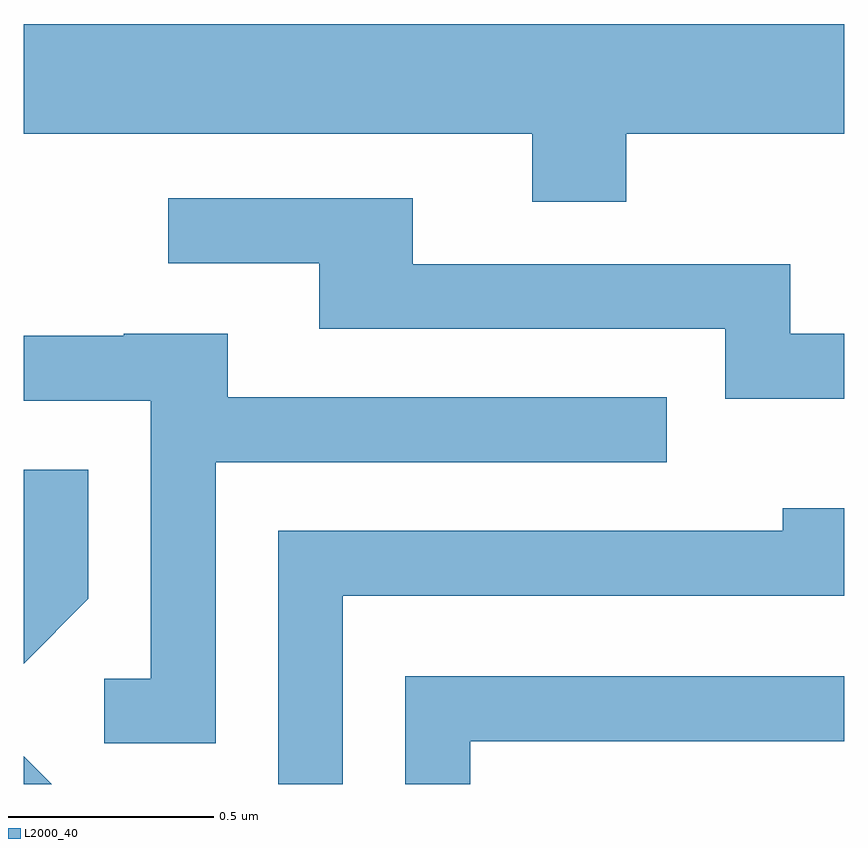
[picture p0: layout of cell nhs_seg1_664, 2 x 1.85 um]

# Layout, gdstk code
import gdstk
lib = gdstk.Library(unit=1e-6, precision=1e-09)
def P(c, l, *ps):  # polygons
    for p in ps: c.add(gdstk.Polygon(p, *l))
L2000_40 = (2000, 40)

nhs_seg1_664 = lib.new_cell('nhs_seg1_664')
P(nhs_seg1_664, L2000_40, [(191.079,957.296),(191.611,957.296),(191.611,957.564),(189.611,957.564),(189.611,957.296),(190.851,957.296),(190.851,957.131),(191.079,957.131)],
  [(191.611,956.809),(191.479,956.809),(191.479,956.979),(190.559,956.979),(190.559,957.139),(189.963,957.139),(189.963,956.981),(190.331,956.981),(190.331,956.821),(191.321,956.821),(191.321,956.651),(191.611,956.651)],
  [(190.079,956.496),(191.178,956.496),(191.178,956.654),(190.109,956.654),(190.109,956.809),(189.855,956.809),(189.855,956.804),(189.611,956.804),(189.611,956.646),(189.921,956.646),(189.921,955.969),(189.808,955.969),(189.808,955.811),(190.079,955.811)],
  [(189.769,956.164),(189.769,956.478),(189.611,956.478),(189.611,956.005)],
  [(190.389,956.171),(191.611,956.171),(191.611,956.384),(191.461,956.384),(191.461,956.329),(190.231,956.329),(190.231,955.712),(190.389,955.712)],
  [(190.699,955.816),(191.611,955.816),(191.611,955.974),(190.541,955.974),(190.541,955.712),(190.699,955.712)],
  [(189.611,955.78),(189.611,955.712),(189.679,955.712)])

lib.write_gds('nhs_seg1_664.gds')
